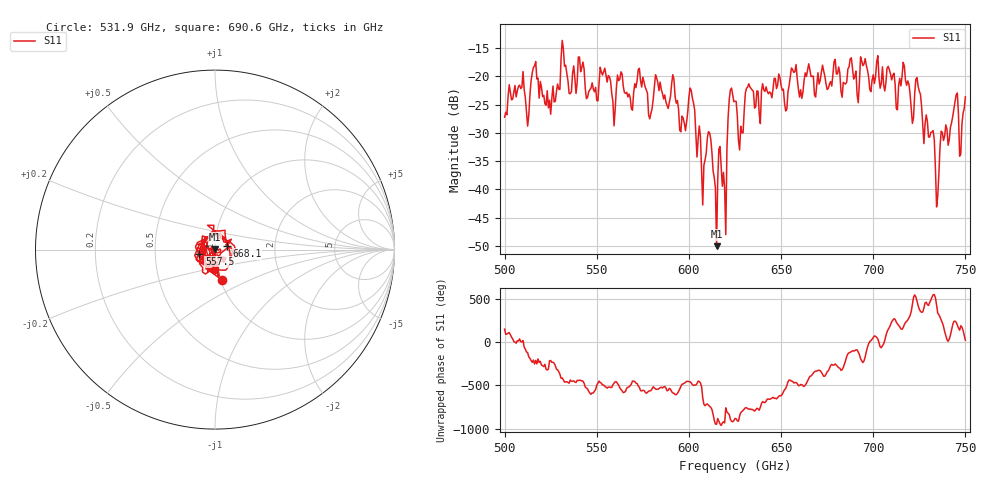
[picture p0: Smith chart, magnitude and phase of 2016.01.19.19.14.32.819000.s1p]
!Created with skrf (http://scikit-rf.org).
# GHz S RI R 50.0
!freq ReS11 ImS11
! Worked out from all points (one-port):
!   401 points, 500 GHz to 750 GHz, reference 50 ohm
!   lowest |S11| = -50.1 dB at 615 GHz (marker M1), VSWR 1.01, Z = 49.8 + j0.23 ohm
!   |S11| at or under -10 dB: start of sweep to end of sweep
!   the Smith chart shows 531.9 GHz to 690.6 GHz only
!   S11 on the Smith chart (normalised r, x): 531.9 GHz: 1.02, -0.36; 557.5 GHz: 0.84, -0.04; 668.1 GHz: 1.14, +0.05; 690.6 GHz: 0.97, -0.22
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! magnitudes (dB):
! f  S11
! 500 GHz  -27.2
! 508.8 GHz  -22.1
! 512.5 GHz  -28.8
! 515.6 GHz  -18.4
! 526.2 GHz  -21.7
! 531.2 GHz  -13.6
! 531.9 GHz  -15.1
! 557.5 GHz  -20.8
! 562.5 GHz  -20.5
! 593.8 GHz  -24.3
! 601.2 GHz  -22.5
! 607.5 GHz  -42.8
! 611.2 GHz  -30.0
! 615 GHz  -50.1
! 619.4 GHz  -39.8
! 622.5 GHz  -22.4
! 625 GHz  -24.4
! 628.1 GHz  -28.8
! 631.9 GHz  -21.9
! 656.2 GHz  -18.8
! 668.1 GHz  -23.3
! 687.5 GHz  -16.9
! 690.6 GHz  -19.0
! 718.8 GHz  -20.8
! 724.4 GHz  -21.8
! 735 GHz  -41.2
! 738.1 GHz  -31.4
! 750 GHz  -23.6
